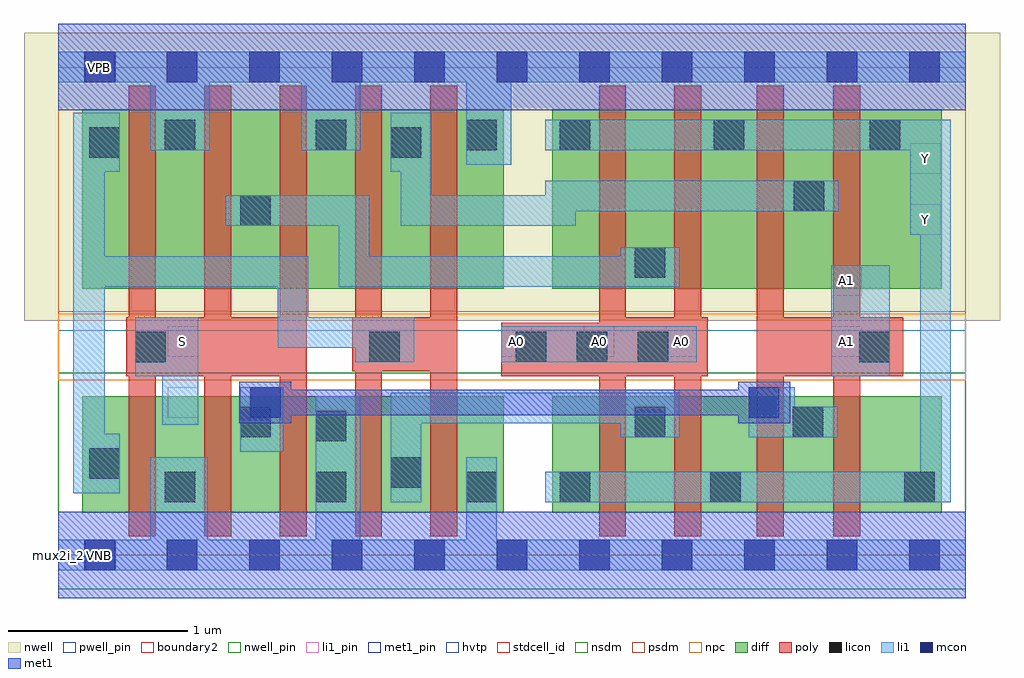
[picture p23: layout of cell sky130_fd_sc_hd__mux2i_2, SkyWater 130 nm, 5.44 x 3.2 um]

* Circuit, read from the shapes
.subckt sky130_fd_sc_hd__mux2i_2 A0 A1 S VGND VNB VPB VPWR Y
XM1 VGND S n1 VNB sky130_fd_pr__nfet_01v8 w=0.65 l=0.15
XM2 n2 S VGND VNB sky130_fd_pr__nfet_01v8 w=0.65 l=0.15 m=2
XM3 n3 n1 VGND VNB sky130_fd_pr__nfet_01v8 w=0.65 l=0.15 m=2
XM4 n3 A0 Y VNB sky130_fd_pr__nfet_01v8 w=0.65 l=0.15 m=2
XM5 n2 A1 Y VNB sky130_fd_pr__nfet_01v8 w=0.65 l=0.15 m=2
XM6 VPWR S n1 VPB sky130_fd_pr__pfet_01v8_hvt w=1 l=0.15
XM7 n4 S VPWR VPB sky130_fd_pr__pfet_01v8_hvt w=1 l=0.15 m=2
XM8 n5 n1 VPWR VPB sky130_fd_pr__pfet_01v8_hvt w=1 l=0.15 m=2
XM9 n4 A0 Y VPB sky130_fd_pr__pfet_01v8_hvt w=1 l=0.15 m=2
XM10 n5 A1 Y VPB sky130_fd_pr__pfet_01v8_hvt w=1 l=0.15 m=2
.ends

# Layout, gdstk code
import gdstk
lib = gdstk.Library(unit=1e-6, precision=1e-09)
def R(c, l, rs):  # rectangles x0, y0, x1, y1
    for r in rs: c.add(gdstk.rectangle(r[:2], r[2:], *l))
def A(c, l, x, y, w, h, nx, ny, dx, dy):  # array of equal rectangles
    R(c, l, [(x+i*dx, y+j*dy, x+i*dx+w, y+j*dy+h) for i in range(nx) for j in range(ny)])
def P(c, l, *ps):  # polygons
    for p in ps: c.add(gdstk.Polygon(p, *l))
nwell_pin = (64, 16)
nwell = (64, 20)
diff = (65, 20)
poly = (66, 20)
licon = (66, 44)
li1_pin = (67, 16)
li1 = (67, 20)
mcon = (67, 44)
met1_pin = (68, 16)
met1 = (68, 20)
hvtp = (78, 44)
stdcell_id = (81, 4)
nsdm = (93, 44)
psdm = (94, 20)
npc = (95, 20)
pwell_pin = (122, 16)
boundary2 = (236, 0)

sky130_fd_sc_hd__mux2i_2 = lib.new_cell('sky130_fd_sc_hd__mux2i_2')
R(sky130_fd_sc_hd__mux2i_2, nwell_pin, [(0.15,2.635,0.32,2.805)])
R(sky130_fd_sc_hd__mux2i_2, nwell, [(-0.19,1.305,5.25,2.91)])
R(sky130_fd_sc_hd__mux2i_2, diff, [(0.135,0.235,2.485,0.885), (2.755,0.235,4.925,0.885), (0.135,1.485,2.485,2.485), (2.755,1.485,4.925,2.485)])
P(sky130_fd_sc_hd__mux2i_2, poly, [(1.385,2.615),(1.235,2.615),(1.235,1.325),(0.965,1.325),(0.965,2.615),(0.815,2.615),(0.815,1.325),(0.545,1.325),(0.545,2.615),(0.395,2.615),(0.395,1.325),(0.38,1.325),(0.38,0.995),(0.395,0.995),(0.395,0.105),(0.545,0.105),(0.545,0.995),(0.815,0.995),(0.815,0.105),(0.965,0.105),(0.965,0.995),(1.235,0.995),(1.235,0.105),(1.385,0.105)],
  [(2.225,2.615),(2.075,2.615),(2.075,1.325),(1.805,1.325),(1.805,2.615),(1.655,2.615),(1.655,1.325),(1.64,1.325),(1.64,1.025),(1.655,1.025),(1.655,0.105),(1.805,0.105),(1.805,1.025),(2.075,1.025),(2.075,0.105),(2.225,0.105)],
  [(3.62,1.325),(3.585,1.325),(3.585,2.615),(3.435,2.615),(3.435,1.325),(3.165,1.325),(3.165,2.615),(3.015,2.615),(3.015,1.295),(2.47,1.295),(2.47,0.995),(3.015,0.995),(3.015,0.105),(3.165,0.105),(3.165,0.995),(3.435,0.995),(3.435,0.105),(3.585,0.105),(3.585,0.995),(3.62,0.995)],
  [(4.71,1.325),(4.47,1.325),(4.47,2.615),(4.32,2.615),(4.32,1.325),(4.045,1.325),(4.045,2.615),(3.895,2.615),(3.895,0.105),(4.045,0.105),(4.045,0.995),(4.32,0.995),(4.32,0.105),(4.47,0.105),(4.47,0.995),(4.71,0.995)])
A(sky130_fd_sc_hd__mux2i_2, licon, 0.595, 0.295, 0.17, 0.17, 3, 2, 0.84, 1.96)
A(sky130_fd_sc_hd__mux2i_2, licon, 2.55, 1.075, 0.17, 0.17, 3, 1, 0.34, 0)
R(sky130_fd_sc_hd__mux2i_2, licon, [(2.795,0.295,2.965,0.465), (3.635,0.295,3.805,0.465), (4.715,0.295,4.885,0.465), (1.855,0.375,2.025,0.545), (0.175,0.425,0.345,0.595), (1.435,0.635,1.605,0.805), (1.015,0.655,1.185,0.825), (3.215,0.655,3.385,0.825), (4.095,0.655,4.265,0.825), (0.43,1.075,0.6,1.245), (1.735,1.075,1.905,1.245), (4.465,1.075,4.635,1.245), (3.215,1.545,3.385,1.715), (1.015,1.835,1.185,2.005), (4.1,1.915,4.27,2.085), (0.175,2.215,0.345,2.385), (1.855,2.215,2.025,2.385), (2.795,2.255,2.965,2.425), (3.655,2.255,3.825,2.425), (4.525,2.255,4.695,2.425)])
A(sky130_fd_sc_hd__mux2i_2, li1_pin, 2.47, 1.105, 0.17, 0.17, 3, 1, 0.46, 0)
R(sky130_fd_sc_hd__mux2i_2, li1_pin, [(0.61,0.765,0.78,0.935), (0.61,1.105,0.78,1.275), (4.31,1.105,4.48,1.275), (4.31,1.445,4.48,1.615), (4.75,1.785,4.92,1.955), (4.75,2.125,4.92,2.295)])
R(sky130_fd_sc_hd__mux2i_2, li1, [(1.015,0.575,1.255,0.935), (4.31,0.995,4.635,1.615), (2.47,1.075,3.56,1.275)])
P(sky130_fd_sc_hd__mux2i_2, li1, [(5.06,2.805),(0,2.805),(0,2.635),(0.515,2.635),(0.515,2.255),(0.845,2.255),(0.845,2.635),(1.355,2.635),(1.355,2.255),(1.685,2.255),(1.685,2.635),(2.275,2.635),(2.275,2.175),(2.525,2.175),(2.525,2.635),(5.06,2.635)],
  [(0.43,0.995),(0.43,1.325),(0.78,1.325),(0.78,0.725),(0.58,0.725),(0.58,0.995)],
  [(3.465,0.905),(1.855,0.905),(1.855,0.295),(2.025,0.295),(2.025,0.735),(3.135,0.735),(3.135,0.655),(3.465,0.655)],
  [(3.465,1.715),(3.135,1.715),(3.135,1.665),(1.735,1.665),(1.735,2.005),(0.935,2.005),(0.935,1.835),(1.565,1.835),(1.565,1.495),(3.465,1.495)],
  [(1.985,1.325),(1.395,1.325),(1.395,1.665),(0.26,1.665),(0.26,2.135),(0.345,2.135),(0.345,2.465),(0.085,2.465),(0.085,0.345),(0.345,0.345),(0.345,0.675),(0.26,0.675),(0.26,1.495),(1.225,1.495),(1.225,1.155),(1.655,1.155),(1.655,1.075),(1.985,1.075)],
  [(4.975,2.425),(2.715,2.425),(2.715,2.255),(4.75,2.255),(4.75,1.785),(4.805,1.785),(4.805,0.465),(2.715,0.465),(2.715,0.295),(4.975,0.295)],
  [(5.06,0.085),(2.445,0.085),(2.445,0.545),(2.275,0.545),(2.275,0.085),(1.685,0.085),(1.685,0.885),(1.435,0.885),(1.435,0.085),(0.835,0.085),(0.835,0.545),(0.515,0.545),(0.515,0.085),(0,0.085),(0,-0.085),(5.06,-0.085)],
  [(4.345,0.825),(4.105,0.825),(4.105,0.935),(3.85,0.935),(3.85,0.655),(4.345,0.655)],
  [(4.35,2.085),(2.715,2.085),(2.715,2.005),(2.08,2.005),(2.08,2.465),(1.855,2.465),(1.855,2.135),(1.91,2.135),(1.91,1.835),(2.885,1.835),(2.885,1.915),(4.35,1.915)])
A(sky130_fd_sc_hd__mux2i_2, mcon, 0.145, -0.085, 0.17, 0.17, 11, 2, 0.46, 2.72)
R(sky130_fd_sc_hd__mux2i_2, mcon, [(1.07,0.765,1.24,0.935), (3.85,0.765,4.02,0.935)])
R(sky130_fd_sc_hd__mux2i_2, met1_pin, [(0.15,-0.085,0.32,0.085), (0.15,2.635,0.32,2.805)])
P(sky130_fd_sc_hd__mux2i_2, met1, [(4.08,0.965),(3.79,0.965),(3.79,0.92),(1.3,0.92),(1.3,0.965),(1.01,0.965),(1.01,0.735),(1.3,0.735),(1.3,0.78),(3.79,0.78),(3.79,0.735),(4.08,0.735)])
R(sky130_fd_sc_hd__mux2i_2, hvtp, [(0,1.25,5.06,2.72)])
R(sky130_fd_sc_hd__mux2i_2, stdcell_id, [(0,0,5.06,2.72)])
R(sky130_fd_sc_hd__mux2i_2, nsdm, [(0,-0.19,5.06,1.015)])
R(sky130_fd_sc_hd__mux2i_2, psdm, [(0,1.355,5.06,2.91)])
R(sky130_fd_sc_hd__mux2i_2, npc, [(0,0.975,5.06,1.345)])
R(sky130_fd_sc_hd__mux2i_2, pwell_pin, [(0.15,-0.085,0.32,0.085)])
R(sky130_fd_sc_hd__mux2i_2, boundary2, [(0,0,5.06,2.72)])
sky130_fd_sc_hd__mux2i_2.add(gdstk.FlexPath([(0,2.72),(5.06,2.72)], 0.48, ends="flush", simple_path=True, layer=68, datatype=20))  # met1
sky130_fd_sc_hd__mux2i_2.add(gdstk.FlexPath([(0,0),(5.06,0)], 0.48, ends="flush", simple_path=True, layer=68, datatype=20))  # met1
sky130_fd_sc_hd__mux2i_2.add(gdstk.Label('Y', (4.835,2.21), layer=67, texttype=5))
sky130_fd_sc_hd__mux2i_2.add(gdstk.Label('A1', (4.395,1.53), layer=67, texttype=5))
sky130_fd_sc_hd__mux2i_2.add(gdstk.Label('A1', (4.395,1.19), layer=67, texttype=5))
sky130_fd_sc_hd__mux2i_2.add(gdstk.Label('Y', (4.835,1.87), layer=67, texttype=5))
sky130_fd_sc_hd__mux2i_2.add(gdstk.Label('A0', (2.555,1.19), layer=67, texttype=5))
sky130_fd_sc_hd__mux2i_2.add(gdstk.Label('A0', (3.015,1.19), layer=67, texttype=5))
sky130_fd_sc_hd__mux2i_2.add(gdstk.Label('A0', (3.475,1.19), layer=67, texttype=5))
sky130_fd_sc_hd__mux2i_2.add(gdstk.Label('S', (0.695,1.19), layer=67, texttype=5))
sky130_fd_sc_hd__mux2i_2.add(gdstk.Label('VNB', (0.23,0), layer=64, texttype=59))
sky130_fd_sc_hd__mux2i_2.add(gdstk.Label('VPB', (0.23,2.72), layer=64, texttype=5))
sky130_fd_sc_hd__mux2i_2.add(gdstk.Label('VPWR', (0.23,2.72), layer=68, texttype=5))
sky130_fd_sc_hd__mux2i_2.add(gdstk.Label('VGND', (0.23,0), layer=68, texttype=5))
sky130_fd_sc_hd__mux2i_2.add(gdstk.Label('mux2i_2', (0,0), layer=83, texttype=44))

lib.write_gds('sky130_fd_sc_hd__mux2i_2.gds')
